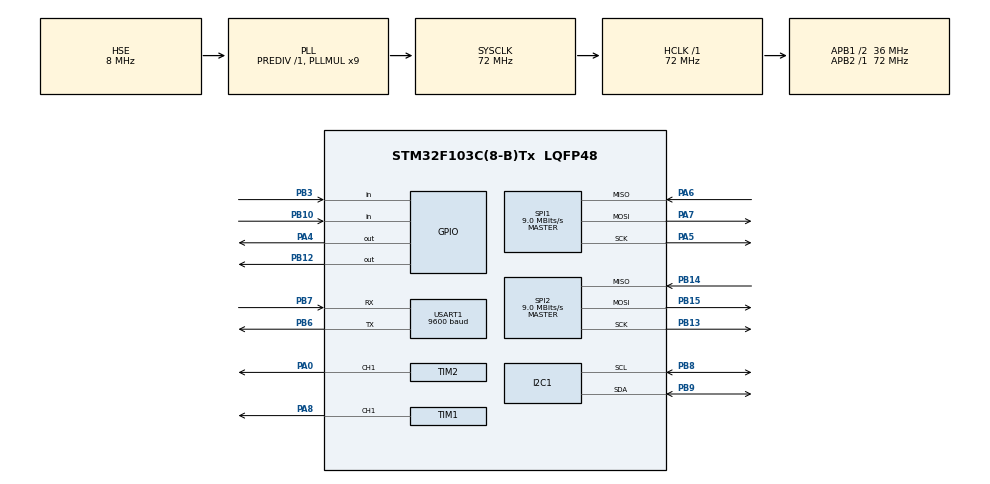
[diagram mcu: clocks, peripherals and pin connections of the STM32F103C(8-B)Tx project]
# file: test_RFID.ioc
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Mcu.Family=STM32F1
Mcu.Name=STM32F103C(8-B)Tx
Mcu.Package=LQFP48
NVIC.PriorityGroup=NVIC_PRIORITYGROUP_4
PA0-WKUP.Signal=S_TIM2_CH1_ETR
PA13.Mode=Serial_Wire
PA13.Signal=SYS_JTMS-SWDIO
PA14.Mode=Serial_Wire
PA14.Signal=SYS_JTCK-SWCLK
PA4.Signal=GPIO_Output
PA5.Mode=Full_Duplex_Master
PA5.Signal=SPI1_SCK
PA6.Mode=Full_Duplex_Master
PA6.Signal=SPI1_MISO
PA7.Mode=Full_Duplex_Master
PA7.Signal=SPI1_MOSI
PA8.Signal=S_TIM1_CH1
PB10.Signal=GPIO_Input
PB12.Signal=GPIO_Output
PB13.Mode=Full_Duplex_Master
PB13.Signal=SPI2_SCK
PB14.Mode=Full_Duplex_Master
PB14.Signal=SPI2_MISO
PB15.Mode=Full_Duplex_Master
PB15.Signal=SPI2_MOSI
PB3.Signal=GPIO_Input
PB6.Mode=Asynchronous
PB6.Signal=USART1_TX
PB7.Mode=Asynchronous
PB7.Signal=USART1_RX
PB8.Mode=I2C
PB8.Signal=I2C1_SCL
PB9.Mode=I2C
PB9.Signal=I2C1_SDA
PD0-OSC_IN.Mode=HSE-External-Oscillator
PD0-OSC_IN.Signal=RCC_OSC_IN
PD1-OSC_OUT.Mode=HSE-External-Oscillator
PD1-OSC_OUT.Signal=RCC_OSC_OUT
ProjectManager.HeapSize=0x200
ProjectManager.StackSize=0x400
ProjectManager.TargetToolchain=MDK-ARM V5
RCC.AHBFreq_Value=72000000
RCC.APB1CLKDivider=RCC_HCLK_DIV2
RCC.APB1Freq_Value=36000000
RCC.APB1TimFreq_Value=72000000
RCC.APB2Freq_Value=72000000
RCC.APB2TimFreq_Value=72000000
RCC.HCLKFreq_Value=72000000
RCC.PLLMUL=RCC_PLL_MUL9
RCC.PLLSourceVirtual=RCC_PLLSOURCE_HSE
RCC.SYSCLKFreq_VALUE=72000000
RCC.SYSCLKSource=RCC_SYSCLKSOURCE_PLLCLK
RCC.USBFreq_Value=72000000
SH.S_TIM1_CH1.0=TIM1_CH1,PWM Generation1 CH1
SH.S_TIM2_CH1_ETR.0=TIM2_CH1,PWM Generation1 CH1
SPI1.BaudRatePrescaler=SPI_BAUDRATEPRESCALER_8
SPI1.CalculateBaudRate=9.0 MBits/s
SPI1.Direction=SPI_DIRECTION_2LINES
SPI1.Mode=SPI_MODE_MASTER
SPI1.VirtualType=VM_MASTER
SPI2.BaudRatePrescaler=SPI_BAUDRATEPRESCALER_4
SPI2.CalculateBaudRate=9.0 MBits/s
SPI2.Direction=SPI_DIRECTION_2LINES
SPI2.Mode=SPI_MODE_MASTER
SPI2.VirtualType=VM_MASTER
TIM1.Channel-PWM\ Generation1\ CH1=TIM_CHANNEL_1
TIM1.Period=1000
TIM1.Prescaler=1440-1
TIM2.Channel-PWM\ Generation1\ CH1=TIM_CHANNEL_1
TIM2.Period=1000
TIM2.Prescaler=1440-1
USART1.BaudRate=9600
USART1.VirtualMode=VM_ASYNC
board=custom

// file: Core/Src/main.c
/* USER CODE BEGIN Header */
/**
  ******************************************************************************
  * @file           : main.c
  * @brief          : Main program body
  ******************************************************************************
  * @attention
  *
  * <h2><center>&copy; Copyright (c) 2021 STMicroelectronics.
  * All rights reserved.</center></h2>
  *
  * This software component is licensed by ST under BSD 3-Clause license,
  * the "License"; You may not use this file except in compliance with the
  * License. You may obtain a copy of the License at:
  *                        opensource.org/licenses/BSD-3-Clause
  *
  ******************************************************************************
  */
/* USER CODE END Header */
#include "main.h"

/* USER CODE BEGIN Includes */

#include "stm32f1_rc522_spi1.h"
#include "stm32f1_rc522_spi2.h"
#include "i2c-lcd.h"
#include "stdio.h"
#include "string.h"
#include "stdbool.h"
#include "stdlib.h"

char * itoa(int n, char * buffer, int radix);

/* USER CODE END Includes */

/* USER CODE BEGIN PTD */

typedef struct {
	uint8_t seconds;
	uint8_t minutes;
	uint8_t hour;
	uint8_t dayofweek;
	uint8_t dayofmonth;
	uint8_t month;
	uint8_t year;
} TIME;

/* USER CODE END PTD */

/* USER CODE BEGIN PD */

/*Define address of module DS3231*/
#define DS3231_ADDRESS 0xD0U
#define _OPEN_SYS_ITOA_EXT
/*Define status of sensor*/
#define VEHICLE_IN     0x00U
#define VEHICLE_OUT    0x00U
#define MAX_LINE       0x05U
#define GATEIN         0x00U
#define GATEOUT 	   0X01U

/* USER CODE END PD */

/* USER CODE BEGIN PM */

/*Macro to read sensor*/
#define STATUS_SENSOR_IN  ( HAL_GPIO_ReadPin(GPIOB,GPIO_PIN_10) )
#define STATUS_SENSOR_OUT ( HAL_GPIO_ReadPin(GPIOB,GPIO_PIN_3) )

/* USER CODE END PM */

I2C_HandleTypeDef hi2c1;

SPI_HandleTypeDef hspi1;
SPI_HandleTypeDef hspi2;

TIM_HandleTypeDef htim1;
TIM_HandleTypeDef htim2;

UART_HandleTypeDef huart1;

/* USER CODE BEGIN PV */

	TIME time;
	float TEMP;
	char buffer[15];
	uint8_t cardStatusIn;
	uint8_t bufferIn[MAX_LEN]; // Max_LEN = 16
	uint8_t serNumIn[5];

	uint8_t cardStatusOut;
	uint8_t bufferOut[MAX_LEN]; // Max_LEN = 16
	uint8_t serNumOut[5];
	uint8_t queueCard[5][5]; // mang chua ma the RFID
	uint8_t queueStatus[5] = {0}; // mang chua status cua queue
	uint8_t queueIndex =0;
	uint8_t flagIn = 0;
	char flagOut = 0;
	uint8_t queueLineCount = 0;

/* USER CODE END PV */

void SystemClock_Config(void);
static void MX_GPIO_Init(void);
static void MX_SPI2_Init(void);
static void MX_SPI1_Init(void);
static void MX_I2C1_Init(void);
static void MX_TIM1_Init(void);
static void MX_TIM2_Init(void);
static void MX_USART1_UART_Init(void);
/* USER CODE BEGIN PFP */

/*******************************************************************************
		API control servo motor
*******************************************************************************/
void openGateIn(void);
void closeGateIn(void);
void openGateOut(void);
void closeGateOut(void);

/*******************************************************************************
* API of module DS3231
*******************************************************************************/
uint8_t decToBcd(int val);
int bcdToDec(uint8_t val);
void Set_Time (uint8_t sec, uint8_t min, uint8_t hour, uint8_t dow, uint8_t dom, uint8_t month, uint8_t year);
void Get_Time (void);
float Get_Temp (void);
void force_temp_conv (void);
bool Queue_CheckEmpty(void);
bool Queue_CheckFull(void);
uint8_t transDataToThemes(uint8_t a[],uint8_t status);

/*******************************************************************************
* API of module RFID
*******************************************************************************/
uint8_t getID_In(void);
uint8_t getID_OUT(void);
void inttochar(int num, char str[]);
/*******************************************************************************
		API of modul UART
*******************************************************************************/
int fputc(int c, FILE * stream);

void inttochar(int num, char str[]);
void str_empty(char str[]);

/* USER CODE END PFP */

/* USER CODE BEGIN 0 */

/*******************************************************************************
* API of module RFID
*******************************************************************************/
uint8_t getID_In(void)
{
	cardStatusIn = MFRC522_Request(PICC_REQIDL, bufferIn);
	cardStatusIn = MFRC522_Anticoll(bufferIn);
	memcpy(serNumIn, bufferIn, 5);

		return cardStatusIn;
}

uint8_t getID_OUT(void)
{
	cardStatusOut = MFRC522_Request_2(PICC_REQIDL, bufferOut);
	cardStatusOut = MFRC522_Anticoll_2(bufferOut);
	memcpy(serNumOut, bufferOut, 5);

	return cardStatusOut;
}

/*******************************************************************************
* API of module DS3231
*******************************************************************************/
uint8_t decToBcd(int val)
{
  return (uint8_t)( (val/10*16) + (val%10) );
}
int bcdToDec(uint8_t val)
{
  return (int)( (val/16*10) + (val%16) );
}

void Set_Time (uint8_t sec, uint8_t min, uint8_t hour, uint8_t dow, uint8_t dom, uint8_t month, uint8_t year)
{
	uint8_t set_time[7];
	set_time[0] = decToBcd(sec);
	set_time[1] = decToBcd(min);
	set_time[2] = decToBcd(hour);
	set_time[3] = decToBcd(dow);
	set_time[4] = decToBcd(dom);
	set_time[5] = decToBcd(month);
	set_time[6] = decToBcd(year);

	HAL_I2C_Mem_Write(&hi2c1, DS3231_ADDRESS, 0x00, 1, set_time, 7, 1000);
}
void Get_Time (void)
{
	uint8_t get_time[7];
	HAL_I2C_Mem_Read(&hi2c1, DS3231_ADDRESS, 0x00, 1, get_time, 7, 1000);
	time.seconds = bcdToDec(get_time[0]);
	time.minutes = bcdToDec(get_time[1]);
	time.hour = bcdToDec(get_time[2]);
	time.dayofweek = bcdToDec(get_time[3]);
	time.dayofmonth = bcdToDec(get_time[4]);
	time.month = bcdToDec(get_time[5]);
	time.year = bcdToDec(get_time[6]);
}

float Get_Temp (void)
{
	uint8_t temp[2];

	HAL_I2C_Mem_Read(&hi2c1, DS3231_ADDRESS, 0x11, 1, temp, 2, 1000);
	return ((temp[0])+(temp[1]>>6)/4.0);
}

void force_temp_conv (void)
{
	uint8_t status=0;
	uint8_t control=0;
	HAL_I2C_Mem_Read(&hi2c1, DS3231_ADDRESS, 0x0F, 1, &status, 1, 100);  // read status register
	if (!(status&0x04))
	{
		HAL_I2C_Mem_Read(&hi2c1, DS3231_ADDRESS, 0x0E, 1, &control, 1, 100);  // read control register
		HAL_I2C_Mem_Write(&hi2c1, DS3231_ADDRESS, 0x0E, 1, (uint8_t *)(control|(0x20)), 1, 100);
	}
}

/*******************************************************************************
		API control servo motor
*******************************************************************************/
void closeGateOut(void)
{
		htim1.Instance-> CCR1=125;
}

void openGateOut(void)
{

		htim1.Instance-> CCR1=75;
}

void openGateIn(void)
{
		htim2.Instance-> CCR1=125;
}
void closeGateIn(void)
{
		htim2.Instance-> CCR1=75;
}

/*******************************************************************************
		API of modul UART
*******************************************************************************/

int fputc(int c, FILE * stream) // phuc vu su dung hаm printf
{
	HAL_UART_Transmit(&huart1,(uint8_t *)&c,1,1);
	return 0;
}

/*******************************************************************************
		API of Queue
*******************************************************************************/
bool Queue_CheckEmpty(void)
{
    return (queueLineCount == 0) ? true : false;
}

bool Queue_CheckFull(void)
{
    return (queueLineCount >= MAX_LINE) ? true : false;
}

uint8_t transDataToThemes(uint8_t a[],uint8_t status)
{
	char s[25] = {0};
    uint8_t  n = 2;
	uint8_t i=0;
	switch(status)
	{
		case 0:
			s[0] = '0';
			s[1] = ',';
		break;
		case 1:
			s[0] = '1';
			s[1] = ',';
	}
    for ( i = 2; i < 7; i++)
	{
        n += sprintf (&s[n], "%d-", a[i-2]);
    }
	s[n-1]= 0;

    return HAL_UART_Transmit(&huart1, (uint8_t *)s, sizeof(s),10);
}

void str_empty(char str[])
{
	int i = 0;
	while(str[i] != '\0')
	{
		str[i] = '\0';
		i++;
	}

}

/* USER CODE END 0 */

int main(void)
{
  /* USER CODE BEGIN 1 */
	static uint8_t transFlag =0;

  /* USER CODE END 1 */

  /* MCU Configuration--------------------------------------------------------*/

  /* Reset of all peripherals, Initializes the Flash interface and the Systick. */
  HAL_Init();

  /* Configure the system clock */
  SystemClock_Config();

  /* Initialize all configured peripherals */
  MX_GPIO_Init();
  MX_SPI2_Init();
  MX_SPI1_Init();
  MX_I2C1_Init();
  MX_TIM1_Init();
  MX_TIM2_Init();
  MX_USART1_UART_Init();
  /* USER CODE BEGIN 2 */

	/*Init module RFID */
	MFRC522_Init_2();
	MFRC522_Init();

	/*Init TIM1 , TIM2 to generate PWM pulse*/
	HAL_TIM_PWM_Start(&htim1,TIM_CHANNEL_1);
	HAL_TIM_PWM_Start(&htim2,TIM_CHANNEL_1);

	/*Init module I2c with LCD*/
	lcd_init ();
	lcd_send_string("Hello");
	closeGateIn();
	closeGateOut();
  /* USER CODE END 2 */

  /* Infinite loop */
  /* USER CODE BEGIN WHILE */

  while (1)
  {

		if( (getID_In() == CARD_VALID) && (transFlag == 0) )
		{
			 flagIn =1;
			 if(queueStatus[ queueIndex % MAX_LINE ] == 0)
			 {
				 memcpy(queueCard[queueIndex % MAX_LINE],serNumIn,5);
				 queueStatus[queueIndex % MAX_LINE ] =1;
				 openGateIn();
				 if( (transDataToThemes(queueCard[queueIndex % MAX_LINE],GATEIN) == HAL_OK) )
				 {
					 transFlag =1;
				 }
			 }
			 else
			 {
				 queueIndex++;
			 }
		}
		if((STATUS_SENSOR_IN == VEHICLE_IN)&& flagIn == 1)
		{
			 closeGateIn();
			 queueIndex += 1;
			 flagIn =0;
			 queueLineCount +=1;
			 transFlag = 0;
		}

		if((getID_OUT() == CARD_VALID))
		{

			lcd_goto_XY(1,8);
			lcd_send_string("out");
			 for(queueIndex =0; queueIndex<5 && flagOut == 0 ; queueIndex++)
			 {
				 if(queueStatus[queueIndex ] == 1)
				 {
					 for(uint8_t i =0 ; i<5 ;i++)
					 {
						 if(serNumOut[i] == queueCard[queueIndex][i] )
						 {
							transDataToThemes(queueCard[queueIndex ],GATEOUT);

							 flagOut =1;
						 }
						 else
						 {
							 flagOut = 0;
							 break;
						 }
					 }
					if(flagOut ==1 )
					 {
						 //transDataToThemes(queueCard[queueIndex % MAX_LINE]);
						 lcd_goto_XY(2,1);
						 lcd_send_string("mo cua");
						 openGateOut();
						 queueStatus[queueIndex] = 0;
					 }
				 }
			 }
		if(flagOut == 0)
		{
			printf("FF,Invalid card");
		}
		}
		if( (STATUS_SENSOR_OUT == VEHICLE_OUT) && (flagOut == 1))
		{
			lcd_send_string("dong cua");
			 closeGateOut();
			 flagOut = 0;

		}
    /* USER CODE END WHILE */

  }
}

void SystemClock_Config(void)
{
  RCC_OscInitTypeDef RCC_OscInitStruct = {0};
  RCC_ClkInitTypeDef RCC_ClkInitStruct = {0};

  /** Initializes the RCC Oscillators according to the specified parameters
  * in the RCC_OscInitTypeDef structure.
  */
  RCC_OscInitStruct.OscillatorType = RCC_OSCILLATORTYPE_HSE;
  RCC_OscInitStruct.HSEState = RCC_HSE_ON;
  RCC_OscInitStruct.HSEPredivValue = RCC_HSE_PREDIV_DIV1;
  RCC_OscInitStruct.HSIState = RCC_HSI_ON;
  RCC_OscInitStruct.PLL.PLLState = RCC_PLL_ON;
  RCC_OscInitStruct.PLL.PLLSource = RCC_PLLSOURCE_HSE;
  RCC_OscInitStruct.PLL.PLLMUL = RCC_PLL_MUL9;
  if (HAL_RCC_OscConfig(&RCC_OscInitStruct) != HAL_OK)
  {
    Error_Handler();
  }
  /** Initializes the CPU, AHB and APB buses clocks
  */
  RCC_ClkInitStruct.ClockType = RCC_CLOCKTYPE_HCLK|RCC_CLOCKTYPE_SYSCLK
                              |RCC_CLOCKTYPE_PCLK1|RCC_CLOCKTYPE_PCLK2;
  RCC_ClkInitStruct.SYSCLKSource = RCC_SYSCLKSOURCE_PLLCLK;
  RCC_ClkInitStruct.AHBCLKDivider = RCC_SYSCLK_DIV1;
  RCC_ClkInitStruct.APB1CLKDivider = RCC_HCLK_DIV2;
  RCC_ClkInitStruct.APB2CLKDivider = RCC_HCLK_DIV1;

  if (HAL_RCC_ClockConfig(&RCC_ClkInitStruct, FLASH_LATENCY_2) != HAL_OK)
  {
    Error_Handler();
  }
}

static void MX_I2C1_Init(void)
{

  hi2c1.Instance = I2C1;
  hi2c1.Init.ClockSpeed = 100000;
  hi2c1.Init.DutyCycle = I2C_DUTYCYCLE_2;
  hi2c1.Init.OwnAddress1 = 0;
  hi2c1.Init.AddressingMode = I2C_ADDRESSINGMODE_7BIT;
  hi2c1.Init.DualAddressMode = I2C_DUALADDRESS_DISABLE;
  hi2c1.Init.OwnAddress2 = 0;
  hi2c1.Init.GeneralCallMode = I2C_GENERALCALL_DISABLE;
  hi2c1.Init.NoStretchMode = I2C_NOSTRETCH_DISABLE;
  if (HAL_I2C_Init(&hi2c1) != HAL_OK)
  {
    Error_Handler();
  }

}

static void MX_SPI1_Init(void)
{

  /* SPI1 parameter configuration*/
  hspi1.Instance = SPI1;
  hspi1.Init.Mode = SPI_MODE_MASTER;
  hspi1.Init.Direction = SPI_DIRECTION_2LINES;
  hspi1.Init.DataSize = SPI_DATASIZE_8BIT;
  hspi1.Init.CLKPolarity = SPI_POLARITY_LOW;
  hspi1.Init.CLKPhase = SPI_PHASE_1EDGE;
  hspi1.Init.NSS = SPI_NSS_SOFT;
  hspi1.Init.BaudRatePrescaler = SPI_BAUDRATEPRESCALER_8;
  hspi1.Init.FirstBit = SPI_FIRSTBIT_MSB;
  hspi1.Init.TIMode = SPI_TIMODE_DISABLE;
  hspi1.Init.CRCCalculation = SPI_CRCCALCULATION_DISABLE;
  hspi1.Init.CRCPolynomial = 10;
  if (HAL_SPI_Init(&hspi1) != HAL_OK)
  {
    Error_Handler();
  }

}

static void MX_SPI2_Init(void)
{

  /* SPI2 parameter configuration*/
  hspi2.Instance = SPI2;
  hspi2.Init.Mode = SPI_MODE_MASTER;
  hspi2.Init.Direction = SPI_DIRECTION_2LINES;
  hspi2.Init.DataSize = SPI_DATASIZE_8BIT;
  hspi2.Init.CLKPolarity = SPI_POLARITY_LOW;
  hspi2.Init.CLKPhase = SPI_PHASE_1EDGE;
  hspi2.Init.NSS = SPI_NSS_SOFT;
  hspi2.Init.BaudRatePrescaler = SPI_BAUDRATEPRESCALER_4;
  hspi2.Init.FirstBit = SPI_FIRSTBIT_MSB;
  hspi2.Init.TIMode = SPI_TIMODE_DISABLE;
  hspi2.Init.CRCCalculation = SPI_CRCCALCULATION_DISABLE;
  hspi2.Init.CRCPolynomial = 10;
  if (HAL_SPI_Init(&hspi2) != HAL_OK)
  {
    Error_Handler();
  }

}

static void MX_TIM1_Init(void)
{

  TIM_MasterConfigTypeDef sMasterConfig = {0};
  TIM_OC_InitTypeDef sConfigOC = {0};
  TIM_BreakDeadTimeConfigTypeDef sBreakDeadTimeConfig = {0};

  htim1.Instance = TIM1;
  htim1.Init.Prescaler = 1440-1;
  htim1.Init.CounterMode = TIM_COUNTERMODE_UP;
  htim1.Init.Period = 1000;
  htim1.Init.ClockDivision = TIM_CLOCKDIVISION_DIV1;
  htim1.Init.RepetitionCounter = 0;
  htim1.Init.AutoReloadPreload = TIM_AUTORELOAD_PRELOAD_DISABLE;
  if (HAL_TIM_PWM_Init(&htim1) != HAL_OK)
  {
    Error_Handler();
  }
  sMasterConfig.MasterOutputTrigger = TIM_TRGO_RESET;
  sMasterConfig.MasterSlaveMode = TIM_MASTERSLAVEMODE_DISABLE;
  if (HAL_TIMEx_MasterConfigSynchronization(&htim1, &sMasterConfig) != HAL_OK)
  {
    Error_Handler();
  }
  sConfigOC.OCMode = TIM_OCMODE_PWM1;
  sConfigOC.Pulse = 0;
  sConfigOC.OCPolarity = TIM_OCPOLARITY_HIGH;
  sConfigOC.OCNPolarity = TIM_OCNPOLARITY_HIGH;
  sConfigOC.OCFastMode = TIM_OCFAST_DISABLE;
  sConfigOC.OCIdleState = TIM_OCIDLESTATE_RESET;
  sConfigOC.OCNIdleState = TIM_OCNIDLESTATE_RESET;
  if (HAL_TIM_PWM_ConfigChannel(&htim1, &sConfigOC, TIM_CHANNEL_1) != HAL_OK)
  {
    Error_Handler();
  }
  sBreakDeadTimeConfig.OffStateRunMode = TIM_OSSR_DISABLE;
  sBreakDeadTimeConfig.OffStateIDLEMode = TIM_OSSI_DISABLE;
  sBreakDeadTimeConfig.LockLevel = TIM_LOCKLEVEL_OFF;
  sBreakDeadTimeConfig.DeadTime = 0;
  sBreakDeadTimeConfig.BreakState = TIM_BREAK_DISABLE;
  sBreakDeadTimeConfig.BreakPolarity = TIM_BREAKPOLARITY_HIGH;
  sBreakDeadTimeConfig.AutomaticOutput = TIM_AUTOMATICOUTPUT_DISABLE;
  if (HAL_TIMEx_ConfigBreakDeadTime(&htim1, &sBreakDeadTimeConfig) != HAL_OK)
  {
    Error_Handler();
  }
  HAL_TIM_MspPostInit(&htim1);

}

static void MX_TIM2_Init(void)
{

  TIM_MasterConfigTypeDef sMasterConfig = {0};
  TIM_OC_InitTypeDef sConfigOC = {0};

  htim2.Instance = TIM2;
  htim2.Init.Prescaler = 1440-1;
  htim2.Init.CounterMode = TIM_COUNTERMODE_UP;
  htim2.Init.Period = 1000;
  htim2.Init.ClockDivision = TIM_CLOCKDIVISION_DIV1;
  htim2.Init.AutoReloadPreload = TIM_AUTORELOAD_PRELOAD_DISABLE;
  if (HAL_TIM_PWM_Init(&htim2) != HAL_OK)
  {
    Error_Handler();
  }
  sMasterConfig.MasterOutputTrigger = TIM_TRGO_RESET;
  sMasterConfig.MasterSlaveMode = TIM_MASTERSLAVEMODE_DISABLE;
  if (HAL_TIMEx_MasterConfigSynchronization(&htim2, &sMasterConfig) != HAL_OK)
  {
    Error_Handler();
  }
  sConfigOC.OCMode = TIM_OCMODE_PWM1;
  sConfigOC.Pulse = 0;
  sConfigOC.OCPolarity = TIM_OCPOLARITY_HIGH;
  sConfigOC.OCFastMode = TIM_OCFAST_DISABLE;
  if (HAL_TIM_PWM_ConfigChannel(&htim2, &sConfigOC, TIM_CHANNEL_1) != HAL_OK)
  {
    Error_Handler();
  }
  HAL_TIM_MspPostInit(&htim2);

}

static void MX_USART1_UART_Init(void)
{

  huart1.Instance = USART1;
  huart1.Init.BaudRate = 115200;
  huart1.Init.WordLength = UART_WORDLENGTH_8B;
  huart1.Init.StopBits = UART_STOPBITS_1;
  huart1.Init.Parity = UART_PARITY_NONE;
  huart1.Init.Mode = UART_MODE_TX_RX;
  huart1.Init.HwFlowCtl = UART_HWCONTROL_NONE;
  huart1.Init.OverSampling = UART_OVERSAMPLING_16;
  if (HAL_UART_Init(&huart1) != HAL_OK)
  {
    Error_Handler();
  }

}

static void MX_GPIO_Init(void)
{
  GPIO_InitTypeDef GPIO_InitStruct = {0};

  /* GPIO Ports Clock Enable */
  __HAL_RCC_GPIOD_CLK_ENABLE();
  __HAL_RCC_GPIOA_CLK_ENABLE();
  __HAL_RCC_GPIOB_CLK_ENABLE();

  /*Configure GPIO pin Output Level */
  HAL_GPIO_WritePin(GPIOA, GPIO_PIN_4, GPIO_PIN_RESET);

  /*Configure GPIO pin Output Level */
  HAL_GPIO_WritePin(GPIOB, GPIO_PIN_12, GPIO_PIN_RESET);

  /*Configure GPIO pin : PA4 */
  GPIO_InitStruct.Pin = GPIO_PIN_4;
  GPIO_InitStruct.Mode = GPIO_MODE_OUTPUT_PP;
  GPIO_InitStruct.Pull = GPIO_NOPULL;
  GPIO_InitStruct.Speed = GPIO_SPEED_FREQ_LOW;
  HAL_GPIO_Init(GPIOA, &GPIO_InitStruct);

  /*Configure GPIO pins : PB10 PB3 */
  GPIO_InitStruct.Pin = GPIO_PIN_10|GPIO_PIN_3;
  GPIO_InitStruct.Mode = GPIO_MODE_INPUT;
  GPIO_InitStruct.Pull = GPIO_NOPULL;
  HAL_GPIO_Init(GPIOB, &GPIO_InitStruct);

  /*Configure GPIO pin : PB12 */
  GPIO_InitStruct.Pin = GPIO_PIN_12;
  GPIO_InitStruct.Mode = GPIO_MODE_OUTPUT_PP;
  GPIO_InitStruct.Pull = GPIO_NOPULL;
  GPIO_InitStruct.Speed = GPIO_SPEED_FREQ_LOW;
  HAL_GPIO_Init(GPIOB, &GPIO_InitStruct);

}

void Error_Handler(void)
{
}

/************************ (C) COPYRIGHT STMicroelectronics *****END OF FILE****/
